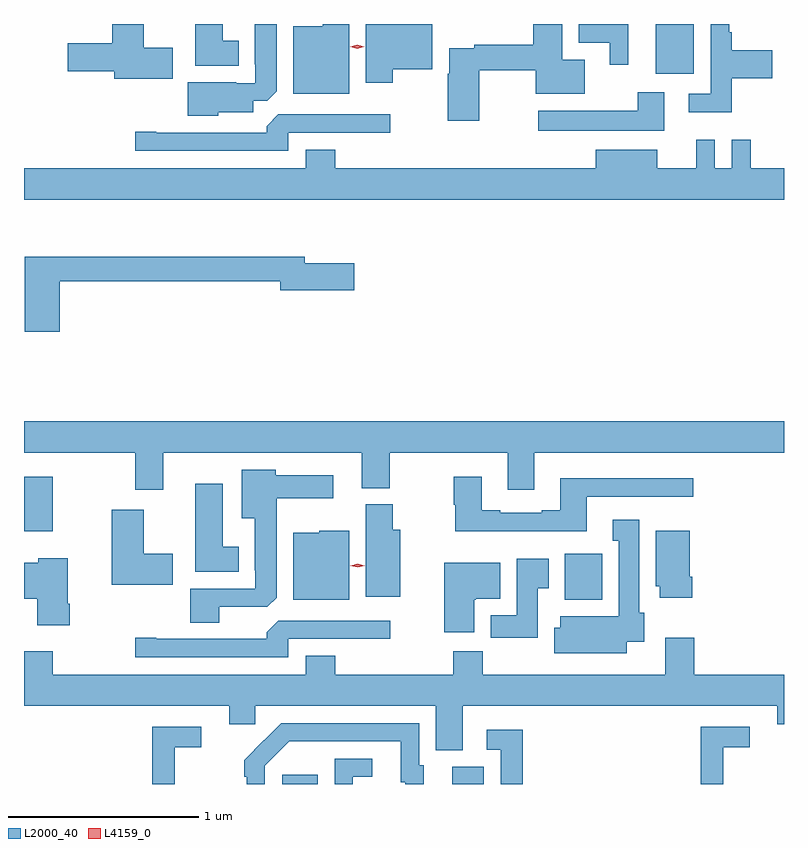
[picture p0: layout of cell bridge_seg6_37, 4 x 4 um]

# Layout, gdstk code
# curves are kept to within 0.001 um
import gdstk
lib = gdstk.Library(unit=1e-6, precision=1e-09)
def R(c, l, rs):  # rectangles x0, y0, x1, y1
    for r in rs: c.add(gdstk.rectangle(r[:2], r[2:], *l))
def P(c, l, *ps):  # polygons
    for p in ps: c.add(gdstk.Polygon(p, *l))
L2000_40 = (2000, 40)
L4159_0 = (4159, 0)

bridge_seg6_37 = lib.new_cell('bridge_seg6_37')
R(bridge_seg6_37, L2000_40, [(1071.335,992.212,1071.523,992.26), (1072.232,992.212,1072.396,992.304), (1072.823,993.182,1073.02,993.424), (1073.303,995.951,1073.503,996.212)])
P(bridge_seg6_37, L2000_40, [(1070.761,996.087),(1070.608,996.087),(1070.608,996.212),(1070.441,996.212),(1070.441,996.11),(1070.208,996.11),(1070.208,995.963),(1070.453,995.963),(1070.453,995.924),(1070.761,995.924)],
  [(1072.372,995.968),(1072.67,995.968),(1072.67,995.846),(1072.927,995.846),(1072.927,996.025),(1072.81,996.025),(1072.81,996.212),(1072.658,996.212),(1072.658,996.104),(1072.348,996.104),(1072.348,996.084),(1072.214,996.084),(1072.214,995.951),(1072.207,995.951),(1072.207,995.703),(1072.372,995.703)],
  [(1071.106,996.124),(1071.022,996.124),(1071.022,996.212),(1070.879,996.212),(1070.879,995.993),(1071.106,995.993)],
  [(1073.158,996.21),(1073.02,996.21),(1073.02,996.212),(1072.898,996.212),(1072.898,996.114),(1073.06,996.114),(1073.06,995.997),(1073.158,995.997)],
  [(1071.688,996.212),(1071.549,996.212),(1071.549,996.199),(1071.395,996.199),(1071.395,995.846),(1071.688,995.846)],
  [(1073.701,995.926),(1073.915,995.926),(1073.915,996.073),(1073.701,996.073),(1073.701,996.169),(1073.688,996.169),(1073.688,996.212),(1073.592,996.212),(1073.592,995.844),(1073.475,995.844),(1073.475,995.747),(1073.701,995.747)],
  [(1071,995.747),(1071.184,995.747),(1071.184,995.808),(1071.258,995.808),(1071.307,995.857),(1071.307,996.212),(1071.191,996.212),(1071.191,996.001),(1071.195,996.001),(1071.195,995.901),(1071.095,995.901),(1071.095,995.905),(1070.84,995.905),(1070.84,995.729),(1071,995.729)],
  [(1071.918,995.975),(1072.126,995.975),(1072.126,996.212),(1071.776,996.212),(1071.776,995.904),(1071.918,995.904)],
  [(1073.347,995.854),(1073.207,995.854),(1073.207,995.755),(1072.683,995.755),(1072.683,995.651),(1073.347,995.651)],
  [(1071.369,995.64),(1071.904,995.64),(1071.904,995.736),(1071.315,995.736),(1071.254,995.674),(1071.254,995.64),(1070.674,995.64),(1070.674,995.645),(1070.562,995.645),(1070.562,995.544),(1071.369,995.544)],
  [(1073.977,995.452),(1073.801,995.452),(1073.801,995.602),(1073.703,995.602),(1073.703,995.452),(1073.613,995.452),(1073.613,995.602),(1073.516,995.602),(1073.516,995.452),(1073.311,995.452),(1073.311,995.551),(1072.985,995.551),(1072.985,995.452),(1071.614,995.452),(1071.614,995.551),(1071.461,995.551),(1071.461,995.452),(1069.977,995.452),(1069.977,995.288),(1073.977,995.288)],
  [(1070.165,994.858),(1071.326,994.858),(1071.326,994.811),(1071.715,994.811),(1071.715,994.953),(1071.454,994.953),(1071.454,994.987),(1069.982,994.987),(1069.982,994.593),(1070.165,994.593)],
  [(1070.71,993.956),(1071.755,993.956),(1071.755,993.769),(1071.903,993.769),(1071.903,993.956),(1072.523,993.956),(1072.523,993.762),(1072.663,993.762),(1072.663,993.956),(1073.977,993.956),(1073.977,994.12),(1069.977,994.12),(1069.977,993.956),(1070.563,993.956),(1070.563,993.762),(1070.71,993.762)],
  [(1071.004,993.144),(1071.258,993.144),(1071.307,993.193),(1071.307,993.716),(1071.604,993.716),(1071.604,993.838),(1071.303,993.838),(1071.303,993.865),(1071.122,993.865),(1071.122,993.611),(1071.191,993.611),(1071.191,993.337),(1071.195,993.337),(1071.195,993.24),(1070.852,993.24),(1070.852,993.061),(1071.004,993.061)],
  [(1072.939,993.723),(1073.5,993.723),(1073.5,993.82),(1072.799,993.82),(1072.799,993.652),(1072.703,993.652),(1072.703,993.639),(1072.483,993.639),(1072.483,993.652),(1072.387,993.652),(1072.387,993.829),(1072.24,993.829),(1072.24,993.681),(1072.247,993.681),(1072.247,993.542),(1072.939,993.542)],
  [(1070.127,993.829),(1069.979,993.829),(1069.979,993.652),(1069.977,993.652),(1069.977,993.542),(1070.127,993.542)],
  [(1071.106,993.46),(1071.022,993.46),(1071.022,993.793),(1070.879,993.793),(1070.879,993.329),(1071.106,993.329)],
  [(1071.958,993.55),(1071.918,993.55),(1071.918,993.684),(1071.776,993.684),(1071.776,993.198),(1071.958,993.198)],
  [(1070.761,993.423),(1070.608,993.423),(1070.608,993.655),(1070.438,993.655),(1070.438,993.26),(1070.761,993.26)],
  [(1073.149,992.96),(1073.242,992.96),(1073.242,993.114),(1073.215,993.114),(1073.215,993.604),(1073.075,993.604),(1073.075,993.491),(1073.108,993.491),(1073.108,993.094),(1072.799,993.094),(1072.799,993.035),(1072.769,993.035),(1072.769,992.9),(1073.149,992.9)],
  [(1073.495,993.304),(1073.482,993.304),(1073.482,993.544),(1073.303,993.544),(1073.303,993.252),(1073.324,993.252),(1073.324,993.192),(1073.495,993.192)],
  [(1071.688,993.544),(1071.531,993.544),(1071.531,993.535),(1071.395,993.535),(1071.395,993.182),(1071.688,993.182)],
  [(1070.219,993.16),(1070.206,993.16),(1070.206,993.4),(1070.052,993.4),(1070.052,993.376),(1069.977,993.376),(1069.977,993.188),(1070.048,993.188),(1070.048,993.048),(1070.219,993.048)],
  [(1072.681,993.241),(1072.738,993.241),(1072.738,993.397),(1072.571,993.397),(1072.571,993.1),(1072.433,993.1),(1072.433,992.982),(1072.681,992.982)],
  [(1072.348,993.182),(1072.354,993.182),(1072.354,993.188),(1072.483,993.188),(1072.483,993.376),(1072.19,993.376),(1072.19,993.012),(1072.348,993.012)],
  [(1071.369,992.976),(1071.904,992.976),(1071.904,993.072),(1071.315,993.072),(1071.254,993.01),(1071.254,992.976),(1070.674,992.976),(1070.674,992.981),(1070.562,992.981),(1070.562,992.88),(1071.369,992.88)],
  [(1072.285,992.624),(1073.942,992.624),(1073.942,992.526),(1073.977,992.526),(1073.977,992.788),(1073.504,992.788),(1073.504,992.983),(1073.351,992.983),(1073.351,992.788),(1072.391,992.788),(1072.391,992.912),(1072.235,992.912),(1072.235,992.788),(1071.614,992.788),(1071.614,992.887),(1071.461,992.887),(1071.461,992.788),(1070.127,992.788),(1070.127,992.912),(1069.977,992.912),(1069.977,992.624),(1071.056,992.624),(1071.056,992.526),(1071.195,992.526),(1071.195,992.624),(1072.145,992.624),(1072.145,992.389),(1072.285,992.389)],
  [(1071.243,992.307),(1071.372,992.436),(1071.959,992.436),(1071.959,992.22),(1071.983,992.22),(1071.983,992.212),(1072.081,992.212),(1072.081,992.31),(1072.056,992.31),(1072.056,992.532),(1071.332,992.532),(1071.135,992.337),(1071.135,992.249),(1071.15,992.249),(1071.15,992.212),(1071.243,992.212)],
  [(1073.657,992.406),(1073.797,992.406),(1073.797,992.514),(1073.539,992.514),(1073.539,992.212),(1073.657,992.212)],
  [(1070.771,992.406),(1070.911,992.406),(1070.911,992.514),(1070.653,992.514),(1070.653,992.212),(1070.771,992.212)],
  [(1072.601,992.497),(1072.413,992.497),(1072.413,992.391),(1072.485,992.391),(1072.485,992.212),(1072.601,992.212)],
  [(1071.708,992.25),(1071.811,992.25),(1071.811,992.346),(1071.612,992.346),(1071.612,992.212),(1071.708,992.212)])
P(bridge_seg6_37, L4159_0, [(1071.733,993.352),(1071.695,993.362),(1071.695,993.362),(1071.695,993.362),(1071.733,993.372),(1071.77,993.362),(1071.77,993.362),(1071.77,993.362)],
  [(1071.732,996.082),(1071.695,996.091),(1071.695,996.091),(1071.695,996.092),(1071.732,996.102),(1071.768,996.093),(1071.769,996.093),(1071.768,996.093)])

lib.write_gds('bridge_seg6_37.gds')
